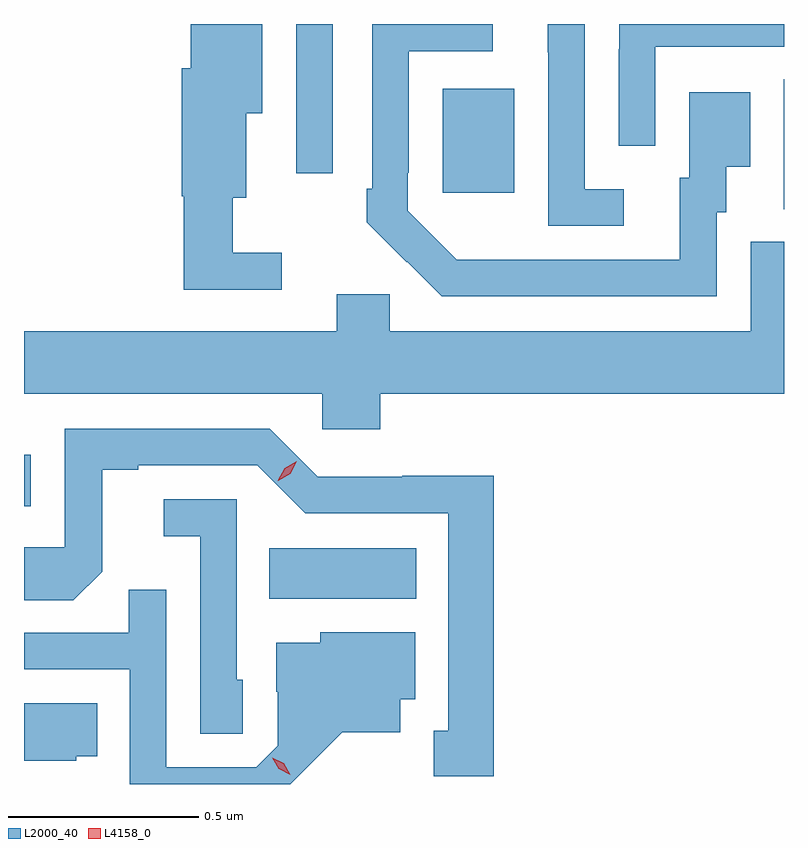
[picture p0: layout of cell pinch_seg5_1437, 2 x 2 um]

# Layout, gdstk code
import gdstk
lib = gdstk.Library(unit=1e-6, precision=1e-09)
def R(c, l, rs):  # rectangles x0, y0, x1, y1
    for r in rs: c.add(gdstk.rectangle(r[:2], r[2:], *l))
def P(c, l, *ps):  # polygons
    for p in ps: c.add(gdstk.Polygon(p, *l))
L2000_40 = (2000, 40)
L4158_0 = (4158, 0)

pinch_seg5_1437 = lib.new_cell('pinch_seg5_1437')
R(pinch_seg5_1437, L2000_40, [(156.016,906.836,156.403,906.97), (155.371,907.08,155.389,907.216), (157.37,907.861,157.371,908.204), (156.473,907.905,156.661,908.179), (156.087,907.956,156.183,908.349)])
P(pinch_seg5_1437, L2000_40, [(157.032,908.289),(157.371,908.289),(157.371,908.349),(156.937,908.349),(156.937,908.282),(156.936,908.282),(156.936,908.028),(157.032,908.028)],
  [(156.049,907.747),(155.92,907.747),(155.92,907.892),(155.956,907.892),(155.956,908.114),(155.998,908.114),(155.998,908.349),(155.81,908.349),(155.81,908.232),(155.786,908.232),(155.786,907.896),(155.791,907.896),(155.791,907.65),(156.049,907.65)],
  [(156.949,907.914),(156.846,907.914),(156.846,908.349),(156.749,908.349),(156.749,908.275),(156.75,908.275),(156.75,907.818),(156.949,907.818)],
  [(157.194,907.854),(157.219,907.854),(157.219,907.973),(157.282,907.973),(157.282,908.17),(157.121,908.17),(157.121,907.944),(157.097,907.944),(157.097,907.728),(156.613,907.728),(156.613,907.729),(156.51,907.729),(156.381,907.857),(156.381,907.957),(156.384,907.957),(156.384,908.277),(156.604,908.277),(156.604,908.349),(156.288,908.349),(156.288,907.915),(156.273,907.915),(156.273,907.827),(156.378,907.722),(156.379,907.723),(156.47,907.632),(157.194,907.632)],
  [(156.308,907.376),(157.371,907.376),(157.371,907.776),(157.283,907.776),(157.283,907.54),(156.333,907.54),(156.333,907.638),(156.194,907.638),(156.194,907.54),(155.371,907.54),(155.371,907.376),(156.156,907.376),(156.156,907.283),(156.308,907.283)],
  [(156.607,907.16),(156.366,907.16),(156.366,907.158),(156.144,907.158),(156.018,907.284),(155.478,907.284),(155.478,906.972),(155.371,906.972),(155.371,906.832),(155.501,906.832),(155.577,906.908),(155.577,907.176),(155.671,907.176),(155.671,907.188),(155.985,907.188),(156.111,907.062),(156.488,907.062),(156.488,906.489),(156.449,906.489),(156.449,906.369),(156.607,906.369)],
  [(155.946,906.624),(155.931,906.624),(155.931,907.098),(155.739,907.098),(155.739,907.001),(155.835,907.001),(155.835,906.481),(155.946,906.481)],
  [(156.106,906.383),(156.209,906.485),(156.361,906.485),(156.361,906.572),(156.4,906.572),(156.4,906.748),(156.15,906.748),(156.15,906.721),(156.035,906.721),(156.035,906.592),(156.039,906.592),(156.039,906.45),(155.982,906.393),(155.745,906.393),(155.745,906.86),(155.647,906.86),(155.647,906.747),(155.371,906.747),(155.371,906.651),(155.649,906.651),(155.649,906.349),(156.072,906.349)],
  [(155.508,906.422),(155.564,906.422),(155.564,906.562),(155.371,906.562),(155.371,906.41),(155.508,906.41)])
P(pinch_seg5_1437, L4158_0, [(156.039,907.147),(156.039,907.147),(156.057,907.18),(156.089,907.198),(156.089,907.198),(156.089,907.198),(156.071,907.166),(156.04,907.147)],
  [(156.072,906.373),(156.041,906.389),(156.024,906.418),(156.024,906.418),(156.024,906.418),(156.055,906.403),(156.072,906.374),(156.072,906.373)])

lib.write_gds('pinch_seg5_1437.gds')
